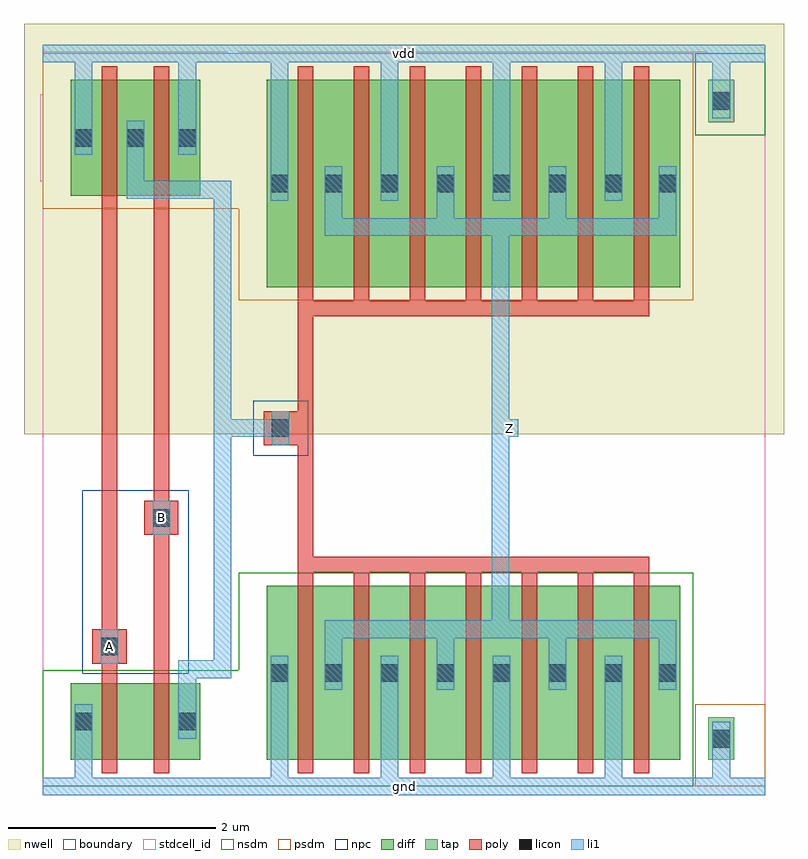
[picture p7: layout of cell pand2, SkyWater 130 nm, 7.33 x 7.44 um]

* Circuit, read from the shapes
.subckt pand2 A B Z gnd vdd
XM1 pnand2_0/nmos_m1_w0_740_sli_dactive_2/D A gnd gnd sky130_fd_pr__nfet_01v8 w=0.74 l=0.15
XM2 pdriver_1/A B pnand2_0/nmos_m1_w0_740_sli_dactive_2/D gnd sky130_fd_pr__nfet_01v8 w=0.74 l=0.15
XM3 Z pdriver_1/A gnd gnd sky130_fd_pr__nfet_01v8 w=1.68 l=0.15 m=7
XM4 pdriver_1/A A vdd vdd sky130_fd_pr__pfet_01v8 w=1.12 l=0.15
XM5 vdd B pdriver_1/A vdd sky130_fd_pr__pfet_01v8 w=1.12 l=0.15
XM6 Z pdriver_1/A vdd vdd sky130_fd_pr__pfet_01v8 w=2 l=0.15 m=7
.ends

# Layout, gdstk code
import gdstk
lib = gdstk.Library(unit=1e-6, precision=1e-09)
def R(c, l, rs):  # rectangles x0, y0, x1, y1
    for r in rs: c.add(gdstk.rectangle(r[:2], r[2:], *l))
def A(c, l, x, y, w, h, nx, ny, dx, dy):  # array of equal rectangles
    R(c, l, [(x+i*dx, y+j*dy, x+i*dx+w, y+j*dy+h) for i in range(nx) for j in range(ny)])
nwell = (64, 20)
diff = (65, 20)
tap = (65, 44)
poly = (66, 20)
licon = (66, 44)
li1 = (67, 20)
stdcell_id = (81, 4)
nsdm = (93, 44)
psdm = (94, 20)
npc = (95, 20)
boundary = (235, 4)

contact_11 = lib.new_cell('contact_11')
R(contact_11, nwell, [(-0.295,-0.255,0.545,0.585)])
R(contact_11, diff, [(0,0.02,0.25,0.31)])
R(contact_11, licon, [(0.04,0.08,0.21,0.25)])
R(contact_11, li1, [(0.04,0,0.21,0.33)])
R(contact_11, stdcell_id, [(-0.295,-0.255,0.545,0.585)])
R(contact_11, psdm, [(-0.125,-0.105,0.375,0.435)])
R(contact_11, boundary, [(-0.295,-0.255,0.545,0.585)])

pmos_m1_w1_120_sli_dli = lib.new_cell('pmos_m1_w1_120_sli_dli')
R(pmos_m1_w1_120_sli_dli, nwell, [(-0.27,-0.27,1.02,1.39)])
R(pmos_m1_w1_120_sli_dli, diff, [(0,0,0.75,1.12)])
R(pmos_m1_w1_120_sli_dli, poly, [(0.3,-0.13,0.45,1.25), (0.3,-0.13,0.45,1.25)])
R(pmos_m1_w1_120_sli_dli, li1, [(0.04,0.395,0.21,0.725), (0.54,0.395,0.71,0.725)])
R(pmos_m1_w1_120_sli_dli, stdcell_id, [(-0.27,-0.27,1.02,1.39)])
R(pmos_m1_w1_120_sli_dli, psdm, [(-0.125,-0.125,0.875,1.245)])
R(pmos_m1_w1_120_sli_dli, boundary, [(-0.27,-0.27,1.02,1.39)])
pmos_m1_w1_120_sli_dli.add(gdstk.Reference(contact_11, (0,0.395)))
pmos_m1_w1_120_sli_dli.add(gdstk.Reference(contact_11, (0.5,0.395)))
pmos_m1_w1_120_sli_dli.add(gdstk.Label('D', (0.625,0.56), layer=67, texttype=16))
pmos_m1_w1_120_sli_dli.add(gdstk.Label('S', (0.125,0.56), layer=67, texttype=16))
pmos_m1_w1_120_sli_dli.add(gdstk.Label('G', (0.375,0.56), layer=66, texttype=16))

contact_17 = lib.new_cell('contact_17')
R(contact_17, diff, [(0,0.02,0.25,0.31)])
R(contact_17, licon, [(0.04,0.08,0.21,0.25)])
R(contact_17, li1, [(0.04,0,0.21,0.33)])
R(contact_17, stdcell_id, [(-0.125,-0.105,0.375,0.435)])
R(contact_17, nsdm, [(-0.125,-0.105,0.375,0.435)])
R(contact_17, boundary, [(-0.125,-0.105,0.375,0.435)])

nmos_m1_w0_740_sli_dacti = lib.new_cell('nmos_m1_w0_740_sli_dactive')
R(nmos_m1_w0_740_sli_dacti, diff, [(0,0,0.75,0.74), (0.55,0.295,0.7,0.445)])
R(nmos_m1_w0_740_sli_dacti, poly, [(0.3,-0.13,0.45,0.87), (0.3,-0.13,0.45,0.87)])
R(nmos_m1_w0_740_sli_dacti, li1, [(0.04,0.205,0.21,0.535)])
R(nmos_m1_w0_740_sli_dacti, stdcell_id, [(-0.125,-0.13,0.875,0.87)])
R(nmos_m1_w0_740_sli_dacti, nsdm, [(-0.125,-0.125,0.875,0.865)])
R(nmos_m1_w0_740_sli_dacti, boundary, [(-0.125,-0.13,0.875,0.87)])
nmos_m1_w0_740_sli_dacti.add(gdstk.Reference(contact_17, (0,0.205)))
nmos_m1_w0_740_sli_dacti.add(gdstk.Label('D', (0.625,0.37), layer=65, texttype=16))
nmos_m1_w0_740_sli_dacti.add(gdstk.Label('S', (0.125,0.37), layer=67, texttype=16))
nmos_m1_w0_740_sli_dacti.add(gdstk.Label('G', (0.375,0.37), layer=66, texttype=16))

nmos_m1_w0_740_sactive_d = lib.new_cell('nmos_m1_w0_740_sactive_dli')
R(nmos_m1_w0_740_sactive_d, diff, [(0,0,0.75,0.74), (0.05,0.295,0.2,0.445)])
R(nmos_m1_w0_740_sactive_d, poly, [(0.3,-0.13,0.45,0.87), (0.3,-0.13,0.45,0.87)])
R(nmos_m1_w0_740_sactive_d, li1, [(0.54,0.205,0.71,0.535)])
R(nmos_m1_w0_740_sactive_d, stdcell_id, [(-0.125,-0.13,0.875,0.87)])
R(nmos_m1_w0_740_sactive_d, nsdm, [(-0.125,-0.125,0.875,0.865)])
R(nmos_m1_w0_740_sactive_d, boundary, [(-0.125,-0.13,0.875,0.87)])
nmos_m1_w0_740_sactive_d.add(gdstk.Reference(contact_17, (0.5,0.205)))
nmos_m1_w0_740_sactive_d.add(gdstk.Label('D', (0.625,0.37), layer=67, texttype=16))
nmos_m1_w0_740_sactive_d.add(gdstk.Label('S', (0.125,0.37), layer=65, texttype=16))
nmos_m1_w0_740_sactive_d.add(gdstk.Label('G', (0.375,0.37), layer=66, texttype=16))

contact_12 = lib.new_cell('contact_12')
R(contact_12, poly, [(0,0,0.33,0.33)])
R(contact_12, licon, [(0.08,0.08,0.25,0.25)])
R(contact_12, li1, [(0.08,0,0.25,0.33)])
R(contact_12, stdcell_id, [(-0.1,-0.1,0.43,0.43)])
R(contact_12, npc, [(-0.1,-0.1,0.43,0.43)])
R(contact_12, boundary, [(-0.1,-0.1,0.43,0.43)])

pnand2 = lib.new_cell('pnand2')
R(pnand2, nwell, [(-0.18,3.395,2.07,7.355)])
R(pnand2, poly, [(0.57,1.125,0.72,5.565), (1.07,1.125,1.22,5.565), (0.57,1.185,0.645,1.515), (1.07,2.425,1.145,2.755)])
R(pnand2, li1, [(0,-0.085,1.89,0.085), (0.31,-0.085,0.48,0.46), (1.31,0.79,1.48,1.13), (1.31,1.045,1.48,1.215), (1.395,1.045,1.735,1.215), (1.65,1.045,1.82,1.215), (1.65,1.13,1.82,5.755), (0.56,1.185,0.73,1.515), (1.06,2.425,1.23,2.755), (0.81,5.67,0.98,5.84), (0.895,5.67,1.735,5.84), (1.65,5.67,1.82,5.84), (0.81,5.755,0.98,6.09), (0.31,6.09,0.48,7.155), (1.31,6.09,1.48,7.155), (0,6.985,1.89,7.155)])
R(pnand2, stdcell_id, [(0,0,1.89,7.07), (0,0,1.89,7.07)])
R(pnand2, nsdm, [(0,0,1.89,1.12)])
R(pnand2, psdm, [(0,5.57,1.89,7.07)])
R(pnand2, npc, [(0.38,1.085,1.41,2.855)])
R(pnand2, boundary, [(0,0,1.89,7.07), (0,0,1.89,7.07)])
pnand2.add(gdstk.Reference(pmos_m1_w1_120_sli_dli, (0.27,5.695)))
pnand2.add(gdstk.Reference(pmos_m1_w1_120_sli_dli, (0.77,5.695)))
pnand2.add(gdstk.Reference(nmos_m1_w0_740_sli_dacti, (0.27,0.255)))
pnand2.add(gdstk.Reference(nmos_m1_w0_740_sactive_d, (0.77,0.255)))
pnand2.add(gdstk.Reference(contact_12, (0.48,1.185)))
pnand2.add(gdstk.Reference(contact_12, (0.98,2.425)))
pnand2.add(gdstk.Label('B', (1.145,2.59), layer=67, texttype=16))
pnand2.add(gdstk.Label('vdd', (0.945,7.07), layer=67, texttype=16))
pnand2.add(gdstk.Label('gnd', (0.945,0), layer=67, texttype=16))
pnand2.add(gdstk.Label('Z', (1.735,5.755), layer=67, texttype=16))
pnand2.add(gdstk.Label('A', (0.645,1.35), layer=67, texttype=16))

pmos_m7_w2_000_sli_dli_d = lib.new_cell('pmos_m7_w2_000_sli_dli_da_p')
R(pmos_m7_w2_000_sli_dli_d, nwell, [(-0.27,-0.27,4.26,2.27)])
R(pmos_m7_w2_000_sli_dli_d, diff, [(0,0,3.99,2)])
A(pmos_m7_w2_000_sli_dli_d, poly, 0.3, -0.13, 0.15, 2.26, 7, 1, 0.54, 0)
R(pmos_m7_w2_000_sli_dli_d, poly, [(0.3,-0.28,3.69,-0.13)])
A(pmos_m7_w2_000_sli_dli_d, li1, 0.56, 0.58, 0.17, 0.42, 3, 1, 1.08, 0)
A(pmos_m7_w2_000_sli_dli_d, li1, 1.1, 0.835, 0.17, 0.33, 3, 1, 1.08, 0)
R(pmos_m7_w2_000_sli_dli_d, li1, [(0.56,0.495,3.95,0.665), (3.78,0.58,3.95,1), (0.04,0.835,0.21,1.165)])
R(pmos_m7_w2_000_sli_dli_d, stdcell_id, [(-0.27,-0.27,4.26,2.27)])
R(pmos_m7_w2_000_sli_dli_d, psdm, [(-0.125,-0.125,4.115,2.125)])
R(pmos_m7_w2_000_sli_dli_d, boundary, [(-0.27,-0.27,4.26,2.27)])
pmos_m7_w2_000_sli_dli_d.add(gdstk.Reference(contact_11, (0,0.835)))
pmos_m7_w2_000_sli_dli_d.add(gdstk.Reference(contact_11, (0.52,0.835)))
pmos_m7_w2_000_sli_dli_d.add(gdstk.Reference(contact_11, (1.06,0.835)))
pmos_m7_w2_000_sli_dli_d.add(gdstk.Reference(contact_11, (1.6,0.835)))
pmos_m7_w2_000_sli_dli_d.add(gdstk.Reference(contact_11, (2.14,0.835)))
pmos_m7_w2_000_sli_dli_d.add(gdstk.Reference(contact_11, (2.68,0.835)))
pmos_m7_w2_000_sli_dli_d.add(gdstk.Reference(contact_11, (3.22,0.835)))
pmos_m7_w2_000_sli_dli_d.add(gdstk.Reference(contact_11, (3.74,0.835)))
pmos_m7_w2_000_sli_dli_d.add(gdstk.Label('D', (2.255,0.58), layer=67, texttype=16))
pmos_m7_w2_000_sli_dli_d.add(gdstk.Label('S', (3.345,1), layer=67, texttype=16))
pmos_m7_w2_000_sli_dli_d.add(gdstk.Label('S', (1.185,1), layer=67, texttype=16))
pmos_m7_w2_000_sli_dli_d.add(gdstk.Label('S', (0.125,1), layer=67, texttype=16))
pmos_m7_w2_000_sli_dli_d.add(gdstk.Label('S', (2.265,1), layer=67, texttype=16))
pmos_m7_w2_000_sli_dli_d.add(gdstk.Label('G', (1.995,-0.205), layer=66, texttype=16))

nmos_m7_w1_680_sli_dli_d = lib.new_cell('nmos_m7_w1_680_sli_dli_da_p')
R(nmos_m7_w1_680_sli_dli_d, diff, [(0,0,3.99,1.68)])
A(nmos_m7_w1_680_sli_dli_d, poly, 0.3, -0.13, 0.15, 1.94, 7, 1, 0.54, 0)
R(nmos_m7_w1_680_sli_dli_d, poly, [(0.3,1.81,3.69,1.96)])
A(nmos_m7_w1_680_sli_dli_d, li1, 1.1, 0.675, 0.17, 0.33, 3, 1, 1.08, 0)
A(nmos_m7_w1_680_sli_dli_d, li1, 0.56, 0.84, 0.17, 0.42, 3, 1, 1.08, 0)
R(nmos_m7_w1_680_sli_dli_d, li1, [(0.04,0.675,0.21,1.005), (3.78,0.84,3.95,1.26), (0.56,1.175,3.95,1.345)])
R(nmos_m7_w1_680_sli_dli_d, stdcell_id, [(-0.125,-0.13,4.115,1.81)])
R(nmos_m7_w1_680_sli_dli_d, nsdm, [(-0.125,-0.125,4.115,1.805)])
R(nmos_m7_w1_680_sli_dli_d, boundary, [(-0.125,-0.13,4.115,1.81)])
nmos_m7_w1_680_sli_dli_d.add(gdstk.Reference(contact_17, (0,0.675)))
nmos_m7_w1_680_sli_dli_d.add(gdstk.Reference(contact_17, (0.52,0.675)))
nmos_m7_w1_680_sli_dli_d.add(gdstk.Reference(contact_17, (1.06,0.675)))
nmos_m7_w1_680_sli_dli_d.add(gdstk.Reference(contact_17, (1.6,0.675)))
nmos_m7_w1_680_sli_dli_d.add(gdstk.Reference(contact_17, (2.14,0.675)))
nmos_m7_w1_680_sli_dli_d.add(gdstk.Reference(contact_17, (2.68,0.675)))
nmos_m7_w1_680_sli_dli_d.add(gdstk.Reference(contact_17, (3.22,0.675)))
nmos_m7_w1_680_sli_dli_d.add(gdstk.Reference(contact_17, (3.74,0.675)))
nmos_m7_w1_680_sli_dli_d.add(gdstk.Label('D', (2.255,1.26), layer=67, texttype=16))
nmos_m7_w1_680_sli_dli_d.add(gdstk.Label('S', (1.185,0.84), layer=67, texttype=16))
nmos_m7_w1_680_sli_dli_d.add(gdstk.Label('S', (3.345,0.84), layer=67, texttype=16))
nmos_m7_w1_680_sli_dli_d.add(gdstk.Label('S', (0.125,0.84), layer=67, texttype=16))
nmos_m7_w1_680_sli_dli_d.add(gdstk.Label('S', (2.265,0.84), layer=67, texttype=16))
nmos_m7_w1_680_sli_dli_d.add(gdstk.Label('G', (1.995,1.885), layer=66, texttype=16))

contact_24 = lib.new_cell('contact_24')
R(contact_24, nwell, [(-0.295,-0.215,0.545,0.625)])
R(contact_24, tap, [(0,0,0.25,0.41)])
R(contact_24, licon, [(0.04,0.12,0.21,0.29)])
R(contact_24, li1, [(0.04,0.04,0.21,0.37)])
R(contact_24, stdcell_id, [(-0.295,-0.215,0.545,0.625)])
R(contact_24, nsdm, [(-0.125,-0.125,0.375,0.535)])
R(contact_24, boundary, [(-0.295,-0.215,0.545,0.625)])

contact_25 = lib.new_cell('contact_25')
R(contact_25, tap, [(0,0,0.25,0.41)])
R(contact_25, licon, [(0.04,0.12,0.21,0.29)])
R(contact_25, li1, [(0.04,0.04,0.21,0.37)])
R(contact_25, stdcell_id, [(-0.125,-0.125,0.375,0.535)])
R(contact_25, psdm, [(-0.125,-0.125,0.375,0.535)])
R(contact_25, boundary, [(-0.125,-0.125,0.375,0.535)])

pinv_1 = lib.new_cell('pinv_1')
R(pinv_1, nwell, [(-0.18,3.395,5.26,7.355)])
R(pinv_1, poly, [(0.57,2.215,0.72,4.535), (0.405,3.29,0.57,3.62)])
A(pinv_1, li1, 1.37, -0.085, 0.17, 1.015, 3, 1, 1.08, 0)
A(pinv_1, li1, 1.37, 5.65, 0.17, 1.505, 3, 1, 1.08, 0)
R(pinv_1, li1, [(0,-0.085,5.08,0.085), (0.31,-0.085,0.48,0.93), (4.57,0,4.74,0.46), (2.44,1.43,2.61,5.48), (0.32,3.29,0.49,3.62), (2.525,3.37,2.695,3.54), (0.31,5.65,0.48,7.155), (4.57,6.61,4.74,7.07), (0,6.985,5.08,7.155)])
R(pinv_1, stdcell_id, [(0,0,5.08,7.07), (0,0,5.08,7.07)])
R(pinv_1, nsdm, [(0,0,4.385,2.06), (4.405,6.28,5.08,7.07)])
R(pinv_1, psdm, [(4.405,0,5.08,0.79), (0,4.69,4.385,7.07)])
R(pinv_1, boundary, [(0,0,5.08,7.07), (0,0,5.08,7.07)])
pinv_1.add(gdstk.Reference(pmos_m7_w2_000_sli_dli_d, (0.27,4.815)))
pinv_1.add(gdstk.Reference(nmos_m7_w1_680_sli_dli_d, (0.27,0.255)))
pinv_1.add(gdstk.Reference(contact_24, (4.53,6.405)))
pinv_1.add(gdstk.Reference(contact_25, (4.53,0.255)))
pinv_1.add(gdstk.Reference(contact_12, (0.24,3.29)))
pinv_1.add(gdstk.Label('vdd', (2.54,7.07), layer=67, texttype=16))
pinv_1.add(gdstk.Label('gnd', (2.54,0), layer=67, texttype=16))
pinv_1.add(gdstk.Label('Z', (2.61,3.455), layer=67, texttype=16))
pinv_1.add(gdstk.Label('A', (0.405,3.455), layer=67, texttype=16))

pdriver = lib.new_cell('pdriver')
R(pdriver, nwell, [(-0.18,3.395,5.26,7.355)])
R(pdriver, li1, [(0,-0.085,5.08,0.085), (0.32,3.29,0.49,3.62), (2.525,3.37,2.695,3.54), (0,6.985,5.08,7.155)])
R(pdriver, stdcell_id, [(0,0,5.08,7.07), (0,0,5.08,7.07)])
R(pdriver, boundary, [(0,0,5.08,7.07), (0,0,5.08,7.07)])
pdriver.add(gdstk.Reference(pinv_1, (0,0)))
pdriver.add(gdstk.Label('vdd', (2.54,7.07), layer=67, texttype=16))
pdriver.add(gdstk.Label('gnd', (2.54,0), layer=67, texttype=16))
pdriver.add(gdstk.Label('Z', (2.61,3.455), layer=67, texttype=16))
pdriver.add(gdstk.Label('A', (0.405,3.455), layer=67, texttype=16))

pand2 = lib.new_cell('pand2')
R(pand2, li1, [(0,-0.085,6.97,0.085), (0.56,1.185,0.73,1.515), (1.06,2.425,1.23,2.755), (1.65,3.37,1.82,3.54), (1.735,3.37,2.295,3.54), (4.415,3.37,4.585,3.54), (1.65,3.455,1.82,5.755), (0,6.985,6.97,7.155)])
R(pand2, stdcell_id, [(0,0,6.97,7.07), (0,0,6.97,7.07)])
R(pand2, boundary, [(0,0,6.97,7.07), (0,0,6.97,7.07)])
pand2.add(gdstk.Reference(pnand2, (0,0)))
pand2.add(gdstk.Reference(pdriver, (1.89,0)))
pand2.add(gdstk.Label('B', (1.145,2.59), layer=67, texttype=16))
pand2.add(gdstk.Label('vdd', (3.485,7.07), layer=67, texttype=16))
pand2.add(gdstk.Label('gnd', (3.485,0), layer=67, texttype=16))
pand2.add(gdstk.Label('Z', (4.5,3.455), layer=67, texttype=16))
pand2.add(gdstk.Label('A', (0.645,1.35), layer=67, texttype=16))

lib.write_gds('pand2.gds')
